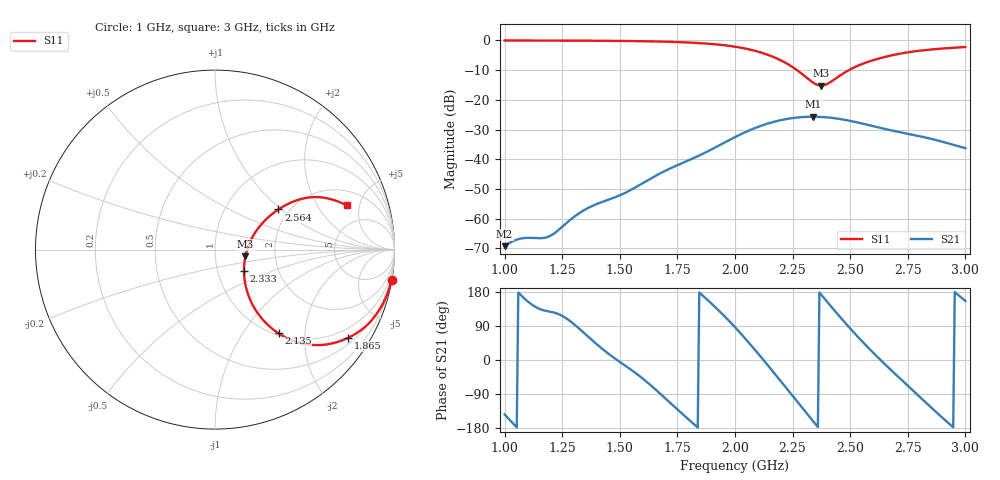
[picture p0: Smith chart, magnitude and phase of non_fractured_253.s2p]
! TOUCHSTONE file generated by CST MICROWAVE STUDIO
! Date and time: Sat Mar  8 13:55:52 2025
! Project name: non_fractured.cst
! Parameters = {B=2.5; D=160; F=5; Feed=2.85625; L=100; M=30; R=0.384908; S=2.5; Theta=0; length=57.125; wave=114.25}
! Header version: 2024
! Port assignment regex: !\s*Touchstone port\s*([0-9]+)\s*=\s*(CST MWS port|CST DES external port|CST DES block port)\s*(.+)\s* \(\"(.*)\"\)(\s*mode\s*([0-9]+))?.*
! Touchstone port assignment:
! Touchstone port 1 = CST MWS port 1 ("")
! Touchstone port 2 = CST MWS port 2 ("")
# GHz S DB R 50
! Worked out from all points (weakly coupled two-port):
!   304 points, 1 GHz to 3 GHz, reference 50 ohm
!   highest |S21| = -25.69 dB at 2.34 GHz (marker M1); lowest = -69.2 dB at 1 GHz (marker M2)
!   lowest |S11| = -15.2 dB at 2.373 GHz (marker M3), VSWR 1.42, Z = 70.2 - j5.47 ohm
!   |S11| at or under -10 dB: 2.269 GHz to 2.494 GHz (225.3 MHz wide, 9.46 % of centre)
!   S12 and S22 are empty: the file has one direction only
!   S11 on the Smith chart (normalised r, x): 1 GHz: 0, -12; 1.865 GHz: 0.68, -3.20; 2.135 GHz: 1.03, -1.47; 2.333 GHz: 1.34, -0.34; 2.564 GHz: 1.76, +0.96; 3 GHz: 3.05, +3.73
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1  -0.02 -9.7  -69.24 -143.6  -200.00 0.0  -200.00 0.0
1.06601  -0.03 -10.6  -66.75 173.9  -200.00 0.0  -200.00 0.0
1.16502  -0.04 -12.1  -66.51 131.9  -200.00 0.0  -200.00 0.0
1.19142  -0.05 -12.5  -66.00 128.2  -200.00 0.0  -200.00 0.0
1.33663  -0.09 -15.1  -57.50 75.9  -200.00 0.0  -200.00 0.0
1.38944  -0.11 -16.2  -55.40 47.1  -200.00 0.0  -200.00 0.0
1.52145  -0.19 -19.5  -51.37 -14.0  -200.00 0.0  -200.00 0.0
1.66667  -0.37 -24.1  -45.08 -84.1  -200.00 0.0  -200.00 0.0
1.86469  -1.01 -33.5  -38.00 167.4  -200.00 0.0  -200.00 0.0
2.0033  -2.15 -42.9  -32.42 84.5  -200.00 0.0  -200.00 0.0
2.06931  -3.16 -48.1  -30.04 39.2  -200.00 0.0  -200.00 0.0
2.13531  -4.65 -52.8  -28.15 -8.6  -200.00 0.0  -200.00 0.0
2.23432  -8.20 -56.0  -26.31 -82.7  -200.00 0.0  -200.00 0.0
2.33333  -13.91 -36.7  -25.69 -157.3  -200.00 0.0  -200.00 0.0
2.33993  -14.27 -33.4  -25.69 -162.3  -200.00 0.0  -200.00 0.0
2.37294  -15.21 -12.6  -25.76 173.3  -200.00 0.0  -200.00 0.0
2.40594  -14.42 7.8  -25.95 149.2  -200.00 0.0  -200.00 0.0
2.46535  -11.34 26.6  -26.58 107.0  -200.00 0.0  -200.00 0.0
2.56436  -7.57 32.3  -28.20 41.2  -200.00 0.0  -200.00 0.0
2.66997  -5.20 30.7  -30.13 -22.3  -200.00 0.0  -200.00 0.0
2.82838  -3.23 24.5  -32.71 -112.4  -200.00 0.0  -200.00 0.0
3  -2.24 18.5  -36.27 156.0  -200.00 0.0  -200.00 0.0
